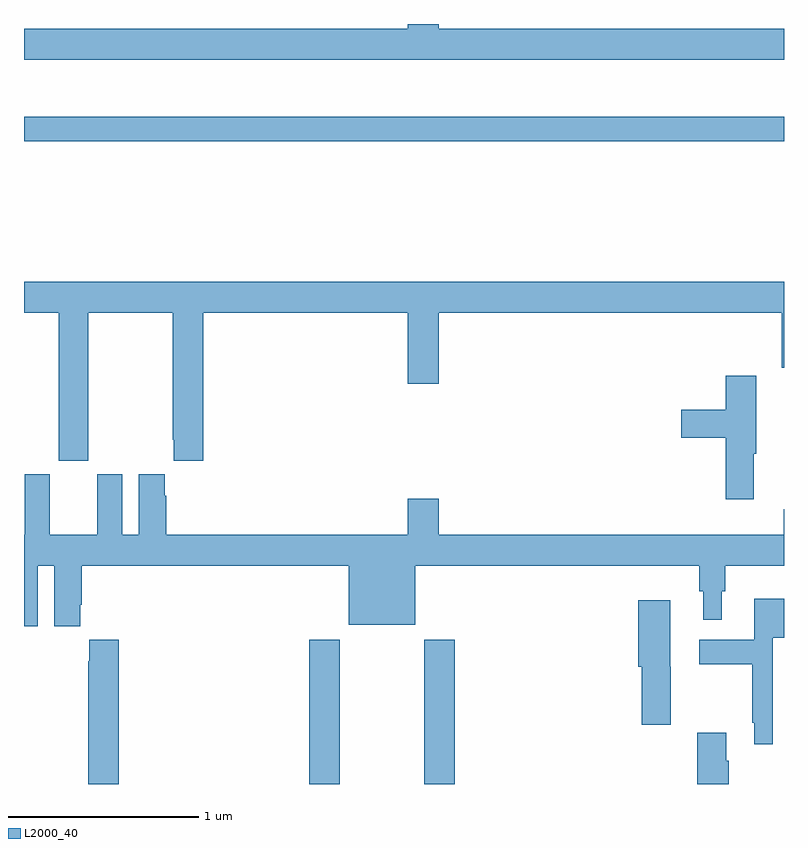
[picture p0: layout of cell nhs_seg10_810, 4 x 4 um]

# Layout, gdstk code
import gdstk
lib = gdstk.Library(unit=1e-6, precision=1e-09)
def R(c, l, rs):  # rectangles x0, y0, x1, y1
    for r in rs: c.add(gdstk.rectangle(r[:2], r[2:], *l))
def P(c, l, *ps):  # polygons
    for p in ps: c.add(gdstk.Polygon(p, *l))
L2000_40 = (2000, 40)

nhs_seg10_810 = lib.new_cell('nhs_seg10_810')
R(nhs_seg10_810, L2000_40, [(152.501,1300.5,152.661,1301.26), (153.106,1300.5,153.266,1301.26), (151,1303.882,155,1304.011)])
P(nhs_seg10_810, L2000_40, [(155,1304.476),(153.184,1304.476),(153.184,1304.5),(153.02,1304.5),(153.02,1304.476),(151,1304.476),(151,1304.312),(155,1304.312)],
  [(151.338,1302.98),(151.783,1302.98),(151.783,1302.313),(151.787,1302.313),(151.787,1302.201),(151.943,1302.201),(151.943,1302.98),(153.02,1302.98),(153.02,1302.606),(153.184,1302.606),(153.184,1302.98),(154.988,1302.98),(154.988,1302.69),(155,1302.69),(155,1303.144),(151,1303.144),(151,1302.98),(151.183,1302.98),(151.183,1302.201),(151.338,1302.201)],
  [(154.84,1302.239),(154.854,1302.239),(154.854,1302.649),(154.694,1302.649),(154.694,1302.47),(154.458,1302.47),(154.458,1302.323),(154.694,1302.323),(154.694,1302),(154.84,1302)],
  [(151.072,1301.648),(151.16,1301.648),(151.16,1301.331),(151.297,1301.331),(151.297,1301.443),(151.304,1301.443),(151.304,1301.648),(152.708,1301.648),(152.708,1301.339),(153.058,1301.339),(153.058,1301.648),(154.555,1301.648),(154.555,1301.514),(154.574,1301.514),(154.574,1301.364),(154.672,1301.364),(154.672,1301.514),(154.691,1301.514),(154.691,1301.648),(155,1301.648),(155,1301.946),(154.999,1301.946),(154.999,1301.812),(153.184,1301.812),(153.184,1302.001),(153.02,1302.001),(153.02,1301.812),(151.748,1301.812),(151.748,1302.017),(151.741,1302.017),(151.741,1302.13),(151.604,1302.13),(151.604,1301.812),(151.516,1301.812),(151.516,1302.13),(151.385,1302.13),(151.385,1301.812),(151.135,1301.812),(151.135,1302.13),(151.004,1302.13),(151.004,1301.812),(151,1301.812),(151,1301.331),(151.072,1301.331)],
  [(154.941,1301.27),(155,1301.27),(155,1301.476),(154.844,1301.476),(154.844,1301.26),(154.554,1301.26),(154.554,1301.131),(154.833,1301.131),(154.833,1300.822),(154.844,1300.822),(154.844,1300.71),(154.941,1300.71)],
  [(154.404,1301.118),(154.402,1301.118),(154.402,1301.467),(154.232,1301.467),(154.232,1301.118),(154.25,1301.118),(154.25,1300.812),(154.404,1300.812)],
  [(151.499,1301.26),(151.343,1301.26),(151.343,1301.147),(151.339,1301.147),(151.339,1300.5),(151.499,1300.5)],
  [(154.544,1300.771),(154.544,1300.5),(154.709,1300.5),(154.709,1300.622),(154.696,1300.622),(154.696,1300.771)])

lib.write_gds('nhs_seg10_810.gds')
